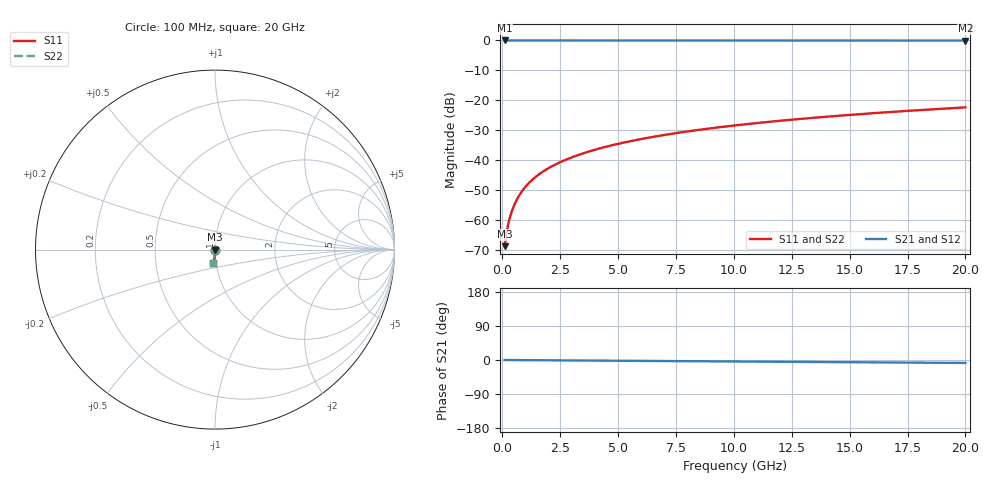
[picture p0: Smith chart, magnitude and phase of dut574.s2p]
! Touchstone file exported from HFSS 2026.1.0
!  File:  C:/ffzhzh/LocalFiles/Ansys_Project_Files/temp_train_TSV_574_1783024801_46388.aedt
!  Generated:  04:41:45 AM Jul  3, 2026
!  Design:  TSV
!  Project:  temp_train_TSV_574_1783024801_46388
! Variables:
!  h_bsmrdl = 2um
!  h_ox = 20um
!  h_rdl = 5um
!  h_sub = 69.37um
!  h_tmrdl = 5um
!  h_tsv = 69.37um
!  h_via = 3um
!  l_bsmrdl = 300um
!  l_sub = 416.36um
!  l_tmrdl = 200um
!  m_sub = 200um
!  pitch = 20.63um
!  r_tsv = 8.18um
!  s_tmrdl = 10um
!  w_bsmrdl = 18um
!  w_sub = 500um
!  w_tmrdl = 12um
!  x_tsv_center1 = 206um
!  x_tsv_center2 = 524um
!  x_tsv_center3 = 736um
!  x_tsv_center4 = 1054um
!  x_tsv_center5 = 1266um
!  x_tsv_center6 = 1584um
# GHz S MA R 50.000000
! Terminal data exported
! Port[1] = TSV1_1_T1
! Port[2] = TSV1_1_T2
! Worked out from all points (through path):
!   200 points, 100 MHz to 20 GHz, reference 50 ohm
!   highest |S21| = 0.00 dB at 100 MHz (marker M1); lowest = 0.0 dB at 20 GHz (marker M2)
!   group delay of S21, straight-line fit = 1.08 ps
!   lowest |S11| = -68.9 dB at 100 MHz (marker M3), VSWR 1.00, Z = 50 - j0.0316 ohm
!   |S11| at or under -10 dB: start of sweep to end of sweep
!   |S22| runs from -68.9 to -22.4 dB; largest |S21 - S12| = 5.3e-15
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0.1  0.0003598 -61.2  0.9998 -0.0  0.9998 -0.0  0.0003598 -61.2
! Gamma 0 0 0 0
! Port Impedance 50 0 50 0
0.2  0.0006675 -72.9  0.9998 -0.1  0.9998 -0.1  0.0006675 -72.9
0.3  0.0009986 -76.9  0.9998 -0.1  0.9998 -0.1  0.0009986 -76.9
0.4  0.001344 -78.8  0.9997 -0.2  0.9997 -0.2  0.001344 -78.8
0.5  0.001701 -80.0  0.9997 -0.2  0.9997 -0.2  0.001701 -80.0
0.7  0.002433 -81.8  0.9996 -0.3  0.9996 -0.3  0.002433 -81.8
0.8  0.002804 -82.4  0.9996 -0.3  0.9996 -0.3  0.002804 -82.4
1  0.00355 -83.5  0.9996 -0.4  0.9996 -0.4  0.00355 -83.5
1.2  0.004298 -84.4  0.9995 -0.5  0.9995 -0.5  0.004298 -84.4
1.4  0.005047 -85.1  0.9995 -0.6  0.9995 -0.6  0.005047 -85.1
1.7  0.006168 -85.9  0.9995 -0.7  0.9995 -0.7  0.006168 -85.9
2  0.00729 -86.5  0.9994 -0.8  0.9994 -0.8  0.00729 -86.5
2.7  0.009911 -87.5  0.9993 -1.1  0.9993 -1.1  0.009911 -87.5
3.5  0.01292 -88.3  0.9992 -1.4  0.9992 -1.4  0.01292 -88.3
4.2  0.01556 -88.8  0.9991 -1.7  0.9991 -1.7  0.01556 -88.8
5  0.01858 -89.3  0.999 -2.0  0.999 -2.0  0.01858 -89.3
6.8  0.02543 -90.4  0.9987 -2.7  0.9987 -2.7  0.02543 -90.4
8.3  0.03115 -91.2  0.9984 -3.2  0.9984 -3.2  0.03115 -91.2
10.1  0.03802 -92.1  0.998 -3.9  0.998 -3.9  0.03802 -92.1
13.4  0.0506 -93.6  0.9973 -5.2  0.9973 -5.2  0.0506 -93.6
16.7  0.06316 -95.0  0.9964 -6.5  0.9964 -6.5  0.06316 -95.0
20  0.0757 -96.4  0.9953 -7.8  0.9953 -7.8  0.0757 -96.4
